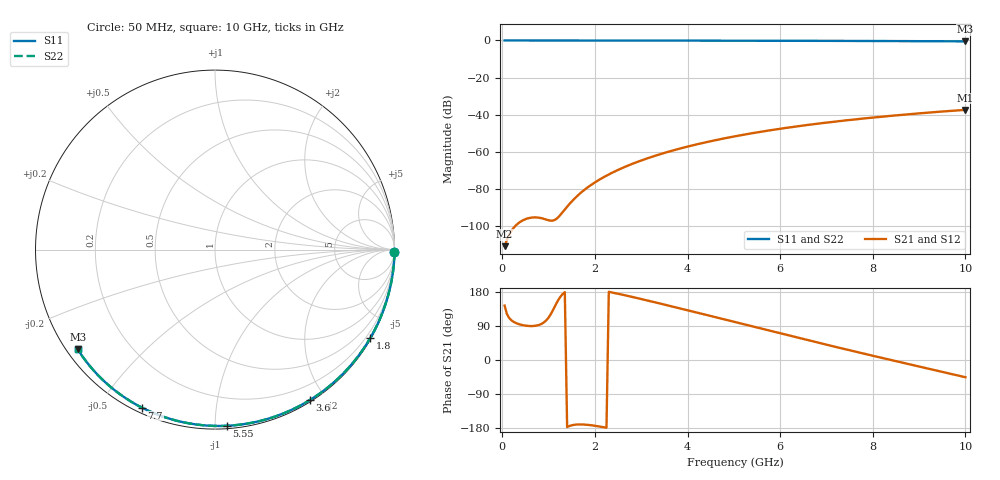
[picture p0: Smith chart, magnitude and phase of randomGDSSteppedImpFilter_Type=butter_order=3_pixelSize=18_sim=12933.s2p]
! freq	dB(S11)	phase(S11)	dB(S12)	phase(S12)
!  dB(S21)	phase(S21)	dB(S22)	phase(S22)
!S-par simulation data
#  GHz  S  DB  R 50
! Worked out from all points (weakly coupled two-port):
!   200 points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, 50 MHz to 10 GHz, reference 50 ohm
!   highest |S21| = -37.43 dB at 10 GHz (marker M1); lowest = -110.9 dB at 50 MHz (marker M2)
!   lowest |S11| = -0.5 dB at 10 GHz (marker M3), VSWR 35.59, Z = 1.55 - j16.2 ohm
!   |S11| at or under -10 dB: nowhere
!   |S22| runs from -0.5 to 0.0 dB; largest |S21 - S12| = 0
!   S11 on the Smith chart (normalised r, x): 50 MHz: open; 1.8 GHz: 0.03, -3.78; 3.6 GHz: 0.02, -1.81; 5.55 GHz: 0.02, -1.07; 7.7 GHz: 0.02, -0.64; 10 GHz: 0.03, -0.32
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0.05  -0.00 -0.8  -110.93 143.5  -110.93 143.5  -0.00 -0.8
0.45  -0.01 -7.5  -96.92 91.8  -96.92 91.8  -0.01 -7.5
0.9  -0.02 -15.0  -96.21 99.3  -96.21 99.3  -0.02 -15.0
1.3  -0.03 -21.5  -92.68 173.6  -92.68 173.6  -0.03 -21.5
1.75  -0.04 -28.8  -81.02 -170.2  -81.02 -170.2  -0.04 -28.8
1.8  -0.04 -29.6  -80.03 -170.6  -80.03 -170.6  -0.04 -29.6
1.95  -0.04 -32.0  -77.36 -172.7  -77.36 -172.7  -0.04 -32.0
2.15  -0.05 -35.2  -74.29 -176.6  -74.29 -176.6  -0.05 -35.2
2.5  -0.05 -40.8  -69.81 174.8  -69.81 174.8  -0.05 -40.8
2.9  -0.06 -47.1  -65.65 163.8  -65.65 163.8  -0.06 -47.1
3.4  -0.07 -54.8  -61.40 149.2  -61.40 149.2  -0.07 -54.8
3.6  -0.08 -57.8  -59.92 143.3  -59.92 143.3  -0.08 -57.8
3.9  -0.09 -62.3  -57.88 134.3  -57.88 134.3  -0.09 -62.3
4.3  -0.10 -68.2  -55.44 122.1  -55.44 122.1  -0.10 -68.2
5.05  -0.12 -79.1  -51.56 99.3  -51.56 99.3  -0.12 -79.1
5.55  -0.14 -86.1  -49.37 84.0  -49.37 84.0  -0.14 -86.1
6.1  -0.17 -93.7  -47.25 67.3  -47.25 67.3  -0.17 -93.7
6.7  -0.20 -101.7  -45.22 49.3  -45.22 49.3  -0.20 -101.7
7.7  -0.26 -114.8  -42.35 19.9  -42.35 19.9  -0.26 -114.8
8.35  -0.32 -123.1  -40.75 1.2  -40.75 1.2  -0.32 -123.2
9.2  -0.40 -133.9  -38.91 -22.9  -38.91 -22.9  -0.40 -133.9
10  -0.49 -144.0  -37.43 -45.5  -37.43 -45.5  -0.49 -144.1
